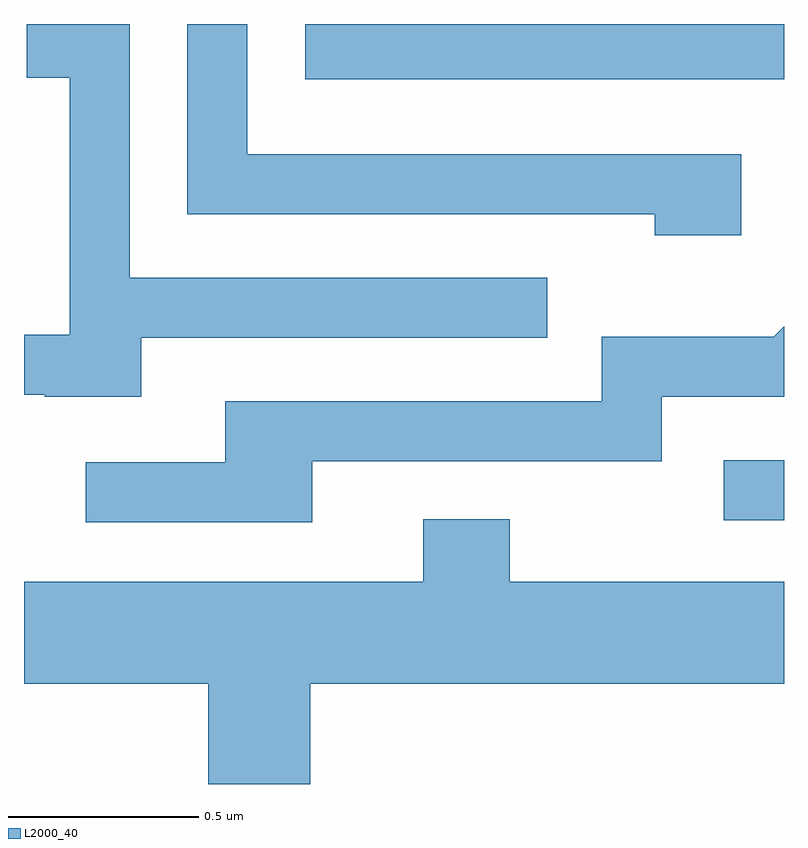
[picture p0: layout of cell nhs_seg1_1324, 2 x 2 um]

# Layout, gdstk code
import gdstk
lib = gdstk.Library(unit=1e-6, precision=1e-09)
def R(c, l, rs):  # rectangles x0, y0, x1, y1
    for r in rs: c.add(gdstk.rectangle(r[:2], r[2:], *l))
def P(c, l, *ps):  # polygons
    for p in ps: c.add(gdstk.Polygon(p, *l))
L2000_40 = (2000, 40)

nhs_seg1_1324 = lib.new_cell('nhs_seg1_1324')
R(nhs_seg1_1324, L2000_40, [(196.453,944.406,196.611,944.564), (195.351,945.566,196.611,945.712)])
P(nhs_seg1_1324, L2000_40, [(196.499,945.369),(195.199,945.369),(195.199,945.712),(195.041,945.712),(195.041,945.211),(196.271,945.211),(196.271,945.156),(196.499,945.156)],
  [(194.919,944.886),(195.988,944.886),(195.988,945.044),(194.889,945.044),(194.889,945.712),(194.618,945.712),(194.618,945.571),(194.731,945.571),(194.731,944.894),(194.611,944.894),(194.611,944.736),(194.665,944.736),(194.665,944.731),(194.919,944.731)],
  [(195.369,944.561),(196.289,944.561),(196.289,944.731),(196.611,944.731),(196.611,944.916),(196.584,944.889),(196.131,944.889),(196.131,944.719),(195.141,944.719),(195.141,944.559),(194.773,944.559),(194.773,944.401),(195.369,944.401)],
  [(195.364,943.976),(196.611,943.976),(196.611,944.244),(195.889,944.244),(195.889,944.409),(195.661,944.409),(195.661,944.244),(194.611,944.244),(194.611,943.976),(195.096,943.976),(195.096,943.712),(195.364,943.712)])

lib.write_gds('nhs_seg1_1324.gds')
